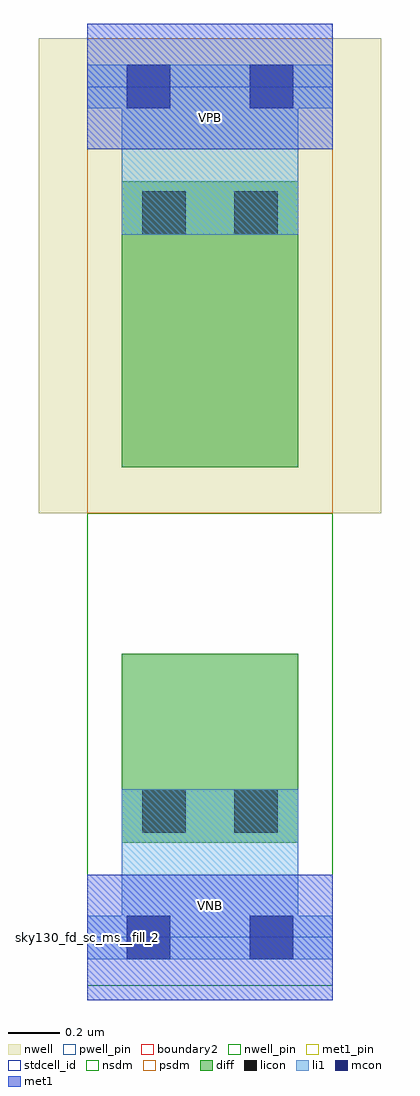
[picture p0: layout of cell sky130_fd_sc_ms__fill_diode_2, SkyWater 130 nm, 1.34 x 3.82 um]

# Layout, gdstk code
import gdstk
lib = gdstk.Library(unit=1e-6, precision=1e-09)
def R(c, l, rs):  # rectangles x0, y0, x1, y1
    for r in rs: c.add(gdstk.rectangle(r[:2], r[2:], *l))
nwell_pin = (64, 16)
nwell = (64, 20)
diff = (65, 20)
licon = (66, 44)
li1 = (67, 20)
mcon = (67, 44)
met1_pin = (68, 16)
met1 = (68, 20)
stdcell_id = (81, 4)
nsdm = (93, 44)
psdm = (94, 20)
pwell_pin = (122, 16)
boundary2 = (236, 0)

sky130_fd_sc_ms__fill_di = lib.new_cell('sky130_fd_sc_ms__fill_diode_2')
R(sky130_fd_sc_ms__fill_di, nwell_pin, [(0,3.085,0.96,3.33)])
R(sky130_fd_sc_ms__fill_di, nwell, [(-0.19,1.66,1.15,3.52)])
R(sky130_fd_sc_ms__fill_di, diff, [(0.135,0.37,0.825,1.11), (0.135,1.84,0.825,2.96)])
R(sky130_fd_sc_ms__fill_di, licon, [(0.215,0.41,0.385,0.58), (0.575,0.41,0.745,0.58), (0.215,2.75,0.385,2.92), (0.575,2.75,0.745,2.92)])
R(sky130_fd_sc_ms__fill_di, li1, [(0,-0.085,0.96,0.085), (0.135,0.045,0.825,0.58), (0.135,2.75,0.825,3.245), (0,3.245,0.96,3.415)])
R(sky130_fd_sc_ms__fill_di, mcon, [(0.155,-0.085,0.325,0.085), (0.635,-0.085,0.805,0.085), (0.155,3.245,0.325,3.415), (0.635,3.245,0.805,3.415)])
R(sky130_fd_sc_ms__fill_di, met1_pin, [(0,0,0.96,0.245), (0,3.085,0.96,3.33)])
R(sky130_fd_sc_ms__fill_di, met1, [(0,-0.245,0.96,0.245), (0,3.085,0.96,3.575)])
R(sky130_fd_sc_ms__fill_di, stdcell_id, [(0,0,0.96,3.33)])
R(sky130_fd_sc_ms__fill_di, nsdm, [(0,-0.19,0.96,1.66)])
R(sky130_fd_sc_ms__fill_di, psdm, [(0,1.66,0.96,3.52)])
R(sky130_fd_sc_ms__fill_di, pwell_pin, [(0,0,0.96,0.245)])
R(sky130_fd_sc_ms__fill_di, boundary2, [(0,0,0.96,3.33)])
sky130_fd_sc_ms__fill_di.add(gdstk.Label('VNB', (0.48,0.123), layer=64, texttype=59))
sky130_fd_sc_ms__fill_di.add(gdstk.Label('VPB', (0.48,3.208), layer=64, texttype=5))
sky130_fd_sc_ms__fill_di.add(gdstk.Label('sky130_fd_sc_ms__fill_2', (0,0), layer=83, texttype=44))
sky130_fd_sc_ms__fill_di.add(gdstk.Label('VPWR', (0.48,3.208), layer=68, texttype=5))
sky130_fd_sc_ms__fill_di.add(gdstk.Label('VGND', (0.48,0.123), layer=68, texttype=5))

lib.write_gds('sky130_fd_sc_ms__fill_diode_2.gds')
